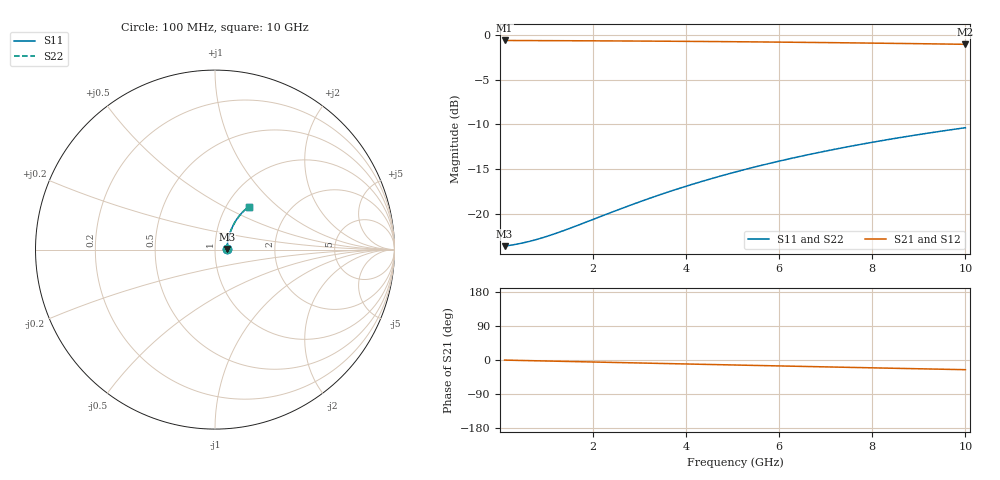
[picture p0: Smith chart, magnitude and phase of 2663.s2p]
# Hz S RI R 50.00
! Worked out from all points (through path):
!   100 points, 100 MHz to 10 GHz, reference 50 ohm
!   highest |S21| = -0.59 dB at 100 MHz (marker M1); lowest = -1.0 dB at 10 GHz (marker M2)
!   group delay of S21, straight-line fit = 7.11 ps
!   lowest |S11| = -23.6 dB at 100 MHz (marker M3), VSWR 1.14, Z = 57 + j0.328 ohm
!   |S11| at or under -10 dB: start of sweep to end of sweep
!   |S22| runs from -23.6 to -10.4 dB; largest |S21 - S12| = 0
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1e8  0.0657 0.00287  0.9343 -0.00431  0.9343 -0.00431  0.0657 0.00287
3e8  0.0665 0.00858  0.9334 -0.0129  0.9334 -0.0129  0.0665 0.00858
5e8  0.0672 0.0143  0.9328 -0.0215  0.9328 -0.0215  0.0672 0.0143
8e8  0.0682 0.0228  0.9317 -0.0344  0.9317 -0.0344  0.0682 0.0228
1e9  0.0689 0.0285  0.931 -0.0429  0.931 -0.0429  0.0689 0.0285
1.2e9  0.0697 0.0341  0.9301 -0.0514  0.9301 -0.0514  0.0697 0.0341
1.5e9  0.0711 0.0426  0.9287 -0.0642  0.9287 -0.0642  0.0711 0.0426
1.8e9  0.0726 0.051  0.927 -0.0769  0.927 -0.0769  0.0726 0.051
2.7e9  0.0784 0.0758  0.9207 -0.1148  0.9207 -0.1148  0.0784 0.0758
3.1e9  0.0816 0.0866  0.9173 -0.1314  0.9173 -0.1314  0.0816 0.0866
3.4e9  0.0843 0.0946  0.9144 -0.1437  0.9144 -0.1437  0.0843 0.0946
3.8e9  0.0881 0.1052  0.9103 -0.1601  0.9103 -0.1601  0.0881 0.1052
4.2e9  0.0923 0.1156  0.9057 -0.1762  0.9057 -0.1762  0.0923 0.1156
4.6e9  0.0969 0.1258  0.9008 -0.1922  0.9008 -0.1922  0.0969 0.1258
5.1e9  0.1031 0.1382  0.8941 -0.2119  0.8941 -0.2119  0.1031 0.1382
5.5e9  0.1084 0.1479  0.8883 -0.2274  0.8883 -0.2274  0.1084 0.1479
5.9e9  0.114 0.1574  0.8822 -0.2427  0.8822 -0.2427  0.114 0.1574
6.7e9  0.1262 0.1756  0.8689 -0.2725  0.8689 -0.2725  0.1262 0.1756
7.5e9  0.1395 0.1927  0.8543 -0.3012  0.8543 -0.3012  0.1395 0.1927
8.4e9  0.1557 0.2105  0.8366 -0.3322  0.8366 -0.3322  0.1557 0.2105
9.2e9  0.171 0.2251  0.8197 -0.3585  0.8197 -0.3585  0.171 0.2251
1e10  0.1871 0.2385  0.8019 -0.3836  0.8019 -0.3836  0.1871 0.2385
